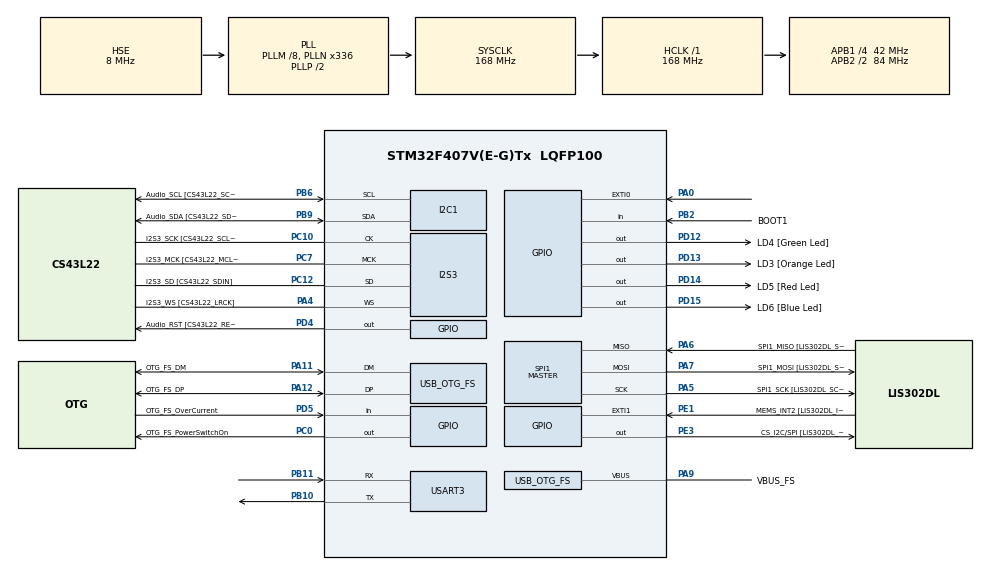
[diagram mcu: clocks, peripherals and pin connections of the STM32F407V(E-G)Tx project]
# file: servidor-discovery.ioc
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Dma.Request0=USART3_TX
Dma.USART3_TX.0.Direction=DMA_MEMORY_TO_PERIPH
Dma.USART3_TX.0.FIFOMode=DMA_FIFOMODE_DISABLE
Dma.USART3_TX.0.Instance=DMA1_Stream3
Dma.USART3_TX.0.MemDataAlignment=DMA_MDATAALIGN_BYTE
Dma.USART3_TX.0.MemInc=DMA_MINC_ENABLE
Dma.USART3_TX.0.Mode=DMA_NORMAL
Dma.USART3_TX.0.PeriphDataAlignment=DMA_PDATAALIGN_BYTE
Dma.USART3_TX.0.PeriphInc=DMA_PINC_DISABLE
Dma.USART3_TX.0.Priority=DMA_PRIORITY_LOW
I2S3.AudioFreq-Half_Duplex_Master=I2S_AUDIOFREQ_96K
I2S3.ErrorAudioFreq=-2.34 %
I2S3.ErrorAudioFreq-Half_Duplex_Master=0.8 %
I2S3.FullDuplexMode=I2S_FULLDUPLEXMODE_DISABLE
I2S3.Instance=SPI$Index
I2S3.RealAudioFreq=93.75 KHz
I2S3.RealAudioFreq-Half_Duplex_Master=96.774 KHz
I2S3.VirtualMode=I2S_MODE_MASTER
Mcu.Family=STM32F4
Mcu.Name=STM32F407V(E-G)Tx
Mcu.Package=LQFP100
NVIC.DMA1_Stream3_IRQn=true\:0\:0\:false\:false\:true\:false\:true\:true
NVIC.EXTI0_IRQn=true\:0\:0\:false\:false\:true\:true\:true\:true
NVIC.OTG_FS_IRQn=true\:0\:0\:false\:false\:true\:true\:true\:true
NVIC.PriorityGroup=NVIC_PRIORITYGROUP_0
NVIC.USART3_IRQn=true\:0\:0\:false\:false\:true\:true\:true\:true
PA0-WKUP.Signal=GPXTI0
PA10.GPIO_Label=OTG_FS_ID
PA10.GPIO_Mode=GPIO_MODE_AF_PP
PA10.GPIO_PuPd=GPIO_NOPULL
PA10.GPIO_Speed=GPIO_SPEED_FREQ_LOW
PA10.Signal=USB_OTG_FS_ID
PA11.GPIO_Label=OTG_FS_DM
PA11.GPIO_Mode=GPIO_MODE_AF_PP
PA11.GPIO_PuPd=GPIO_NOPULL
PA11.GPIO_Speed=GPIO_SPEED_FREQ_LOW
PA11.Mode=Host_Only
PA11.Signal=USB_OTG_FS_DM
PA12.GPIO_Label=OTG_FS_DP
PA12.GPIO_Mode=GPIO_MODE_AF_PP
PA12.GPIO_PuPd=GPIO_NOPULL
PA12.GPIO_Speed=GPIO_SPEED_FREQ_LOW
PA12.Mode=Host_Only
PA12.Signal=USB_OTG_FS_DP
PA13.GPIO_Label=SWDIO
PA13.Mode=Serial_Wire
PA13.Signal=SYS_JTMS-SWDIO
PA14.GPIO_Label=SWCLK
PA14.Mode=Serial_Wire
PA14.Signal=SYS_JTCK-SWCLK
PA4.GPIO_Label=I2S3_WS [CS43L22_LRCK]
PA4.GPIO_Mode=GPIO_MODE_AF_PP
PA4.GPIO_PuPd=GPIO_NOPULL
PA4.GPIO_Speed=GPIO_SPEED_FREQ_LOW
PA4.Mode=Half_Duplex_Master
PA4.Signal=I2S3_WS
PA5.GPIO_Label=SPI1_SCK [LIS302DL_SCL/SPC]
PA5.GPIO_Mode=GPIO_MODE_AF_PP
PA5.GPIO_PuPd=GPIO_NOPULL
PA5.GPIO_Speed=GPIO_SPEED_FREQ_LOW
PA5.Mode=Full_Duplex_Master
PA5.Signal=SPI1_SCK
PA6.GPIO_Label=SPI1_MISO [LIS302DL_SDO]
PA6.GPIO_Mode=GPIO_MODE_AF_PP
PA6.GPIO_PuPd=GPIO_NOPULL
PA6.GPIO_Speed=GPIO_SPEED_FREQ_LOW
PA6.Mode=Full_Duplex_Master
PA6.Signal=SPI1_MISO
PA7.GPIO_Label=SPI1_MOSI [LIS302DL_SDA/SDI/SDO]
PA7.GPIO_Mode=GPIO_MODE_AF_PP
PA7.GPIO_PuPd=GPIO_NOPULL
PA7.GPIO_Speed=GPIO_SPEED_FREQ_LOW
PA7.Mode=Full_Duplex_Master
PA7.Signal=SPI1_MOSI
PA9.GPIO_Label=VBUS_FS
PA9.GPIO_Mode=GPIO_MODE_INPUT
PA9.GPIO_PuPd=GPIO_NOPULL
PA9.Mode=Activate_VBUS
PA9.Signal=USB_OTG_FS_VBUS
PB10.Mode=Asynchronous
PB10.Signal=USART3_TX
PB11.Mode=Asynchronous
PB11.Signal=USART3_RX
PB2.GPIO_Label=BOOT1
PB2.GPIO_Mode=GPIO_MODE_INPUT
PB2.GPIO_PuPd=GPIO_NOPULL
PB2.Signal=GPIO_Input
PB3.GPIO_Label=SWO
PB3.Signal=SYS_JTDO-SWO
PB6.GPIO_Label=Audio_SCL [CS43L22_SCL]
PB6.GPIO_Mode=GPIO_MODE_AF_OD
PB6.GPIO_Pu=GPIO_PULLUP
PB6.GPIO_PuPd=GPIO_NOPULL
PB6.GPIO_Speed=GPIO_SPEED_FREQ_LOW
PB6.Mode=I2C
PB6.Signal=I2C1_SCL
PB9.GPIO_Label=Audio_SDA [CS43L22_SDA]
PB9.GPIO_Mode=GPIO_MODE_AF_OD
PB9.GPIO_Pu=GPIO_PULLUP
PB9.GPIO_PuPd=GPIO_NOPULL
PB9.GPIO_Speed=GPIO_SPEED_FREQ_LOW
PB9.Mode=I2C
PB9.Signal=I2C1_SDA
PC0.GPIO_Label=OTG_FS_PowerSwitchOn
PC0.GPIO_PuPd=GPIO_NOPULL
PC0.GPIO_Speed=GPIO_SPEED_FREQ_LOW
PC0.PinState=GPIO_PIN_SET
PC0.Signal=GPIO_Output
PC10.GPIO_Label=I2S3_SCK [CS43L22_SCLK]
PC10.GPIO_Mode=GPIO_MODE_AF_PP
PC10.GPIO_PuPd=GPIO_NOPULL
PC10.GPIO_Speed=GPIO_SPEED_FREQ_LOW
PC10.Mode=Half_Duplex_Master
PC10.Signal=I2S3_CK
PC12.GPIO_Label=I2S3_SD [CS43L22_SDIN]
PC12.GPIO_Mode=GPIO_MODE_AF_PP
PC12.GPIO_PuPd=GPIO_NOPULL
PC12.GPIO_Speed=GPIO_SPEED_FREQ_LOW
PC12.Mode=Half_Duplex_Master
PC12.Signal=I2S3_SD
PC14-OSC32_IN.GPIO_Label=PC14-OSC32_IN
PC14-OSC32_IN.Mode=LSE-External-Oscillator
PC14-OSC32_IN.Signal=RCC_OSC32_IN
PC15-OSC32_OUT.GPIO_Label=PC15-OSC32_OUT
PC15-OSC32_OUT.Mode=LSE-External-Oscillator
PC15-OSC32_OUT.Signal=RCC_OSC32_OUT
PC3.GPIO_Label=PDM_OUT [MP45DT02_DOUT]
PC3.GPIO_Mode=GPIO_MODE_AF_PP
PC3.GPIO_PuPd=GPIO_NOPULL
PC3.GPIO_Speed=GPIO_SPEED_FREQ_LOW
PC3.Signal=I2S2_SD
PC7.GPIO_Label=I2S3_MCK [CS43L22_MCLK]
PC7.GPIO_Mode=GPIO_MODE_AF_PP
PC7.GPIO_PuPd=GPIO_NOPULL
PC7.GPIO_Speed=GPIO_SPEED_FREQ_LOW
PC7.Mode=Master_Clock_Activated
PC7.Signal=I2S3_MCK
PD12.GPIO_Label=LD4 [Green Led]
PD12.GPIO_PuPd=GPIO_NOPULL
PD12.GPIO_Speed=GPIO_SPEED_FREQ_LOW
PD12.Signal=GPIO_Output
PD13.GPIO_Label=LD3 [Orange Led]
PD13.GPIO_PuPd=GPIO_NOPULL
PD13.GPIO_Speed=GPIO_SPEED_FREQ_LOW
PD13.Signal=GPIO_Output
PD14.GPIO_Label=LD5 [Red Led]
PD14.GPIO_PuPd=GPIO_NOPULL
PD14.GPIO_Speed=GPIO_SPEED_FREQ_LOW
PD14.Signal=GPIO_Output
PD15.GPIO_Label=LD6 [Blue Led]
PD15.GPIO_PuPd=GPIO_NOPULL
PD15.GPIO_Speed=GPIO_SPEED_FREQ_LOW
PD15.Signal=GPIO_Output
PD4.GPIO_Label=Audio_RST [CS43L22_RESET]
PD4.GPIO_PuPd=GPIO_NOPULL
PD4.GPIO_Speed=GPIO_SPEED_FREQ_LOW
PD4.Signal=GPIO_Output
PD5.GPIO_Label=OTG_FS_OverCurrent
PD5.GPIO_Mode=GPIO_MODE_INPUT
PD5.GPIO_PuPd=GPIO_NOPULL
PD5.Signal=GPIO_Input
PE1.GPIO_Label=MEMS_INT2 [LIS302DL_INT2]
PE1.GPIO_ModeDefaultEXTI=GPIO_MODE_EVT_RISING
PE1.GPIO_PuPd=GPIO_NOPULL
PE1.Signal=GPXTI1
PE3.GPIO_Label=CS_I2C/SPI [LIS302DL_CS_I2C/SPI]
PE3.GPIO_PuPd=GPIO_NOPULL
PE3.GPIO_Speed=GPIO_SPEED_FREQ_LOW
PE3.Signal=GPIO_Output
PH0-OSC_IN.GPIO_Label=PH0-OSC_IN
PH0-OSC_IN.Mode=HSE-External-Oscillator
PH0-OSC_IN.Signal=RCC_OSC_IN
PH1-OSC_OUT.GPIO_Label=PH1-OSC_OUT
PH1-OSC_OUT.Mode=HSE-External-Oscillator
PH1-OSC_OUT.Signal=RCC_OSC_OUT
ProjectManager.HeapSize=0x200
ProjectManager.StackSize=0x400
ProjectManager.TargetToolchain=STM32CubeIDE
RCC.48MHZClocksFreq_Value=48000000
RCC.AHBFreq_Value=168000000
RCC.APB1CLKDivider=RCC_HCLK_DIV4
RCC.APB1Freq_Value=42000000
RCC.APB1TimFreq_Value=84000000
RCC.APB2CLKDivider=RCC_HCLK_DIV2
RCC.APB2Freq_Value=84000000
RCC.APB2TimFreq_Value=168000000
RCC.CortexFreq_Value=168000000
RCC.HCLKFreq_Value=168000000
RCC.HSE_VALUE=8000000
RCC.HSI_VALUE=16000000
RCC.PLLM=8
RCC.PLLN=336
RCC.PLLQ=7
RCC.SYSCLKFreq_VALUE=168000000
RCC.SYSCLKSource=RCC_SYSCLKSOURCE_PLLCLK
RCC.VCOOutputFreq_Value=336000000
SPI1.BaudRatePrescaler-Full_Duplex_Master=SPI_BAUDRATEPRESCALER_2
SPI1.CalculateBaudRate-Full_Duplex_Master=42.0 MBits/s
SPI1.Direction=SPI_DIRECTION_2LINES
SPI1.Mode=SPI_MODE_MASTER
SPI1.Mode-Full_Duplex_Master=SPI_MODE_MASTER
SPI1.VirtualType=VM_MASTER
USART3.VirtualMode=VM_ASYNC
USB_HOST.BSP.number=1
USB_HOST.USBH_HandleTypeDef-CDC_FS=hUsbHostFS
USB_HOST.VirtualModeFS=Cdc
USB_HOST0.BSP.STBoard=false
USB_HOST0.BSP.api=Unknown
USB_HOST0.BSP.instance=PC0
USB_HOST0.BSP.ip=GPIO
USB_HOST0.BSP.mode=Output
USB_HOST0.BSP.name=Drive_VBUS_FS
USB_HOST0.BSP.solution=PC0
USB_OTG_FS.VirtualMode=Host_Only
USB_OTG_FS.phy_itface=HCD_PHY_EMBEDDED
VP_USB_HOST_VS_USB_HOST_CDC_FS.Mode=CDC_FS
board=STM32F407G-DISC1

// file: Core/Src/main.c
//Placa Discovery Firmware

/* USER CODE BEGIN Header */
/**
  ******************************************************************************
  * @file           : main.c
  * @brief          : Main program body
  ******************************************************************************
  * @attention
  *
  * Copyright (c) 2026 STMicroelectronics.
  * All rights reserved.
  *
  * This software is licensed under terms that can be found in the LICENSE file
  * in the root directory of this software component.
  * If no LICENSE file comes with this software, it is provided AS-IS.
  *
  ******************************************************************************
  */
/* USER CODE END Header */
#include "main.h"
#include "usb_host.h"
#include <string.h>

I2C_HandleTypeDef hi2c1;

I2S_HandleTypeDef hi2s3;

SPI_HandleTypeDef hspi1;

UART_HandleTypeDef huart3;
DMA_HandleTypeDef hdma_usart3_tx;

/* USER CODE BEGIN PV */
/* USER CODE BEGIN PV */

uint8_t rx;
uint8_t contador = 0;

char tabela[] = "Vinicius,123\nJoao,456\nMaria,789\n";

/* USER CODE END PV */

/* USER CODE END PV */

void SystemClock_Config(void);
static void MX_GPIO_Init(void);
static void MX_DMA_Init(void);
static void MX_I2C1_Init(void);
static void MX_I2S3_Init(void);
static void MX_SPI1_Init(void);
static void MX_USART3_UART_Init(void);
void MX_USB_HOST_Process(void);

int main(void)
{

  /* MCU Configuration--------------------------------------------------------*/

  /* Reset of all peripherals, Initializes the Flash interface and the Systick. */
  HAL_Init();

  /* Configure the system clock */
  SystemClock_Config();

  /* Initialize all configured peripherals */
  MX_GPIO_Init();
  MX_DMA_Init();
  MX_I2C1_Init();
  MX_I2S3_Init();
  MX_SPI1_Init();
  MX_USB_HOST_Init();
  MX_USART3_UART_Init();
  /* USER CODE BEGIN 2 */
  HAL_UART_Receive_IT(&huart3, &rx, 1);

  /* USER CODE END 2 */

  /* Infinite loop */
  while (1)
  {
    MX_USB_HOST_Process();

  }
}

void SystemClock_Config(void)
{
  RCC_OscInitTypeDef RCC_OscInitStruct = {0};
  RCC_ClkInitTypeDef RCC_ClkInitStruct = {0};

  /** Configure the main internal regulator output voltage
  */
  __HAL_RCC_PWR_CLK_ENABLE();
  __HAL_PWR_VOLTAGESCALING_CONFIG(PWR_REGULATOR_VOLTAGE_SCALE1);

  /** Initializes the RCC Oscillators according to the specified parameters
  * in the RCC_OscInitTypeDef structure.
  */
  RCC_OscInitStruct.OscillatorType = RCC_OSCILLATORTYPE_HSE;
  RCC_OscInitStruct.HSEState = RCC_HSE_ON;
  RCC_OscInitStruct.PLL.PLLState = RCC_PLL_ON;
  RCC_OscInitStruct.PLL.PLLSource = RCC_PLLSOURCE_HSE;
  RCC_OscInitStruct.PLL.PLLM = 8;
  RCC_OscInitStruct.PLL.PLLN = 336;
  RCC_OscInitStruct.PLL.PLLP = RCC_PLLP_DIV2;
  RCC_OscInitStruct.PLL.PLLQ = 7;
  if (HAL_RCC_OscConfig(&RCC_OscInitStruct) != HAL_OK)
  {
    Error_Handler();
  }

  /** Initializes the CPU, AHB and APB buses clocks
  */
  RCC_ClkInitStruct.ClockType = RCC_CLOCKTYPE_HCLK|RCC_CLOCKTYPE_SYSCLK
                              |RCC_CLOCKTYPE_PCLK1|RCC_CLOCKTYPE_PCLK2;
  RCC_ClkInitStruct.SYSCLKSource = RCC_SYSCLKSOURCE_PLLCLK;
  RCC_ClkInitStruct.AHBCLKDivider = RCC_SYSCLK_DIV1;
  RCC_ClkInitStruct.APB1CLKDivider = RCC_HCLK_DIV4;
  RCC_ClkInitStruct.APB2CLKDivider = RCC_HCLK_DIV2;

  if (HAL_RCC_ClockConfig(&RCC_ClkInitStruct, FLASH_LATENCY_5) != HAL_OK)
  {
    Error_Handler();
  }
}

static void MX_I2C1_Init(void)
{

  hi2c1.Instance = I2C1;
  hi2c1.Init.ClockSpeed = 100000;
  hi2c1.Init.DutyCycle = I2C_DUTYCYCLE_2;
  hi2c1.Init.OwnAddress1 = 0;
  hi2c1.Init.AddressingMode = I2C_ADDRESSINGMODE_7BIT;
  hi2c1.Init.DualAddressMode = I2C_DUALADDRESS_DISABLE;
  hi2c1.Init.OwnAddress2 = 0;
  hi2c1.Init.GeneralCallMode = I2C_GENERALCALL_DISABLE;
  hi2c1.Init.NoStretchMode = I2C_NOSTRETCH_DISABLE;
  if (HAL_I2C_Init(&hi2c1) != HAL_OK)
  {
    Error_Handler();
  }

}

static void MX_I2S3_Init(void)
{

  hi2s3.Instance = SPI3;
  hi2s3.Init.Mode = I2S_MODE_MASTER_TX;
  hi2s3.Init.Standard = I2S_STANDARD_PHILIPS;
  hi2s3.Init.DataFormat = I2S_DATAFORMAT_16B;
  hi2s3.Init.MCLKOutput = I2S_MCLKOUTPUT_ENABLE;
  hi2s3.Init.AudioFreq = I2S_AUDIOFREQ_96K;
  hi2s3.Init.CPOL = I2S_CPOL_LOW;
  hi2s3.Init.ClockSource = I2S_CLOCK_PLL;
  hi2s3.Init.FullDuplexMode = I2S_FULLDUPLEXMODE_DISABLE;
  if (HAL_I2S_Init(&hi2s3) != HAL_OK)
  {
    Error_Handler();
  }

}

static void MX_SPI1_Init(void)
{

  /* SPI1 parameter configuration*/
  hspi1.Instance = SPI1;
  hspi1.Init.Mode = SPI_MODE_MASTER;
  hspi1.Init.Direction = SPI_DIRECTION_2LINES;
  hspi1.Init.DataSize = SPI_DATASIZE_8BIT;
  hspi1.Init.CLKPolarity = SPI_POLARITY_LOW;
  hspi1.Init.CLKPhase = SPI_PHASE_1EDGE;
  hspi1.Init.NSS = SPI_NSS_SOFT;
  hspi1.Init.BaudRatePrescaler = SPI_BAUDRATEPRESCALER_2;
  hspi1.Init.FirstBit = SPI_FIRSTBIT_MSB;
  hspi1.Init.TIMode = SPI_TIMODE_DISABLE;
  hspi1.Init.CRCCalculation = SPI_CRCCALCULATION_DISABLE;
  hspi1.Init.CRCPolynomial = 10;
  if (HAL_SPI_Init(&hspi1) != HAL_OK)
  {
    Error_Handler();
  }

}

static void MX_USART3_UART_Init(void)
{

  huart3.Instance = USART3;
  huart3.Init.BaudRate = 115200;
  huart3.Init.WordLength = UART_WORDLENGTH_8B;
  huart3.Init.StopBits = UART_STOPBITS_1;
  huart3.Init.Parity = UART_PARITY_NONE;
  huart3.Init.Mode = UART_MODE_TX_RX;
  huart3.Init.HwFlowCtl = UART_HWCONTROL_NONE;
  huart3.Init.OverSampling = UART_OVERSAMPLING_16;
  if (HAL_UART_Init(&huart3) != HAL_OK)
  {
    Error_Handler();
  }

}

static void MX_DMA_Init(void)
{

  /* DMA controller clock enable */
  __HAL_RCC_DMA1_CLK_ENABLE();

  /* DMA interrupt init */
  /* DMA1_Stream3_IRQn interrupt configuration */
  HAL_NVIC_SetPriority(DMA1_Stream3_IRQn, 0, 0);
  HAL_NVIC_EnableIRQ(DMA1_Stream3_IRQn);

}

static void MX_GPIO_Init(void)
{
  GPIO_InitTypeDef GPIO_InitStruct = {0};

  /* GPIO Ports Clock Enable */
  __HAL_RCC_GPIOE_CLK_ENABLE();
  __HAL_RCC_GPIOC_CLK_ENABLE();
  __HAL_RCC_GPIOH_CLK_ENABLE();
  __HAL_RCC_GPIOA_CLK_ENABLE();
  __HAL_RCC_GPIOB_CLK_ENABLE();
  __HAL_RCC_GPIOD_CLK_ENABLE();

  /*Configure GPIO pin Output Level */
  HAL_GPIO_WritePin(CS_I2C_SPI_GPIO_Port, CS_I2C_SPI_Pin, GPIO_PIN_RESET);

  /*Configure GPIO pin Output Level */
  HAL_GPIO_WritePin(OTG_FS_PowerSwitchOn_GPIO_Port, OTG_FS_PowerSwitchOn_Pin, GPIO_PIN_SET);

  /*Configure GPIO pin Output Level */
  HAL_GPIO_WritePin(GPIOD, LD4_Pin|LD3_Pin|LD5_Pin|LD6_Pin
                          |Audio_RST_Pin, GPIO_PIN_RESET);

  /*Configure GPIO pin : CS_I2C_SPI_Pin */
  GPIO_InitStruct.Pin = CS_I2C_SPI_Pin;
  GPIO_InitStruct.Mode = GPIO_MODE_OUTPUT_PP;
  GPIO_InitStruct.Pull = GPIO_NOPULL;
  GPIO_InitStruct.Speed = GPIO_SPEED_FREQ_LOW;
  HAL_GPIO_Init(CS_I2C_SPI_GPIO_Port, &GPIO_InitStruct);

  /*Configure GPIO pin : OTG_FS_PowerSwitchOn_Pin */
  GPIO_InitStruct.Pin = OTG_FS_PowerSwitchOn_Pin;
  GPIO_InitStruct.Mode = GPIO_MODE_OUTPUT_PP;
  GPIO_InitStruct.Pull = GPIO_NOPULL;
  GPIO_InitStruct.Speed = GPIO_SPEED_FREQ_LOW;
  HAL_GPIO_Init(OTG_FS_PowerSwitchOn_GPIO_Port, &GPIO_InitStruct);

  /*Configure GPIO pin : PDM_OUT_Pin */
  GPIO_InitStruct.Pin = PDM_OUT_Pin;
  GPIO_InitStruct.Mode = GPIO_MODE_AF_PP;
  GPIO_InitStruct.Pull = GPIO_NOPULL;
  GPIO_InitStruct.Speed = GPIO_SPEED_FREQ_LOW;
  GPIO_InitStruct.Alternate = GPIO_AF5_SPI2;
  HAL_GPIO_Init(PDM_OUT_GPIO_Port, &GPIO_InitStruct);

  /*Configure GPIO pin : PA0 */
  GPIO_InitStruct.Pin = GPIO_PIN_0;
  GPIO_InitStruct.Mode = GPIO_MODE_IT_RISING;
  GPIO_InitStruct.Pull = GPIO_NOPULL;
  HAL_GPIO_Init(GPIOA, &GPIO_InitStruct);

  /*Configure GPIO pin : BOOT1_Pin */
  GPIO_InitStruct.Pin = BOOT1_Pin;
  GPIO_InitStruct.Mode = GPIO_MODE_INPUT;
  GPIO_InitStruct.Pull = GPIO_NOPULL;
  HAL_GPIO_Init(BOOT1_GPIO_Port, &GPIO_InitStruct);

  /*Configure GPIO pins : LD4_Pin LD3_Pin LD5_Pin LD6_Pin
                           Audio_RST_Pin */
  GPIO_InitStruct.Pin = LD4_Pin|LD3_Pin|LD5_Pin|LD6_Pin
                          |Audio_RST_Pin;
  GPIO_InitStruct.Mode = GPIO_MODE_OUTPUT_PP;
  GPIO_InitStruct.Pull = GPIO_NOPULL;
  GPIO_InitStruct.Speed = GPIO_SPEED_FREQ_LOW;
  HAL_GPIO_Init(GPIOD, &GPIO_InitStruct);

  /*Configure GPIO pin : OTG_FS_OverCurrent_Pin */
  GPIO_InitStruct.Pin = OTG_FS_OverCurrent_Pin;
  GPIO_InitStruct.Mode = GPIO_MODE_INPUT;
  GPIO_InitStruct.Pull = GPIO_NOPULL;
  HAL_GPIO_Init(OTG_FS_OverCurrent_GPIO_Port, &GPIO_InitStruct);

  /*Configure GPIO pin : MEMS_INT2_Pin */
  GPIO_InitStruct.Pin = MEMS_INT2_Pin;
  GPIO_InitStruct.Mode = GPIO_MODE_EVT_RISING;
  GPIO_InitStruct.Pull = GPIO_NOPULL;
  HAL_GPIO_Init(MEMS_INT2_GPIO_Port, &GPIO_InitStruct);

  /* EXTI interrupt init*/
  HAL_NVIC_SetPriority(EXTI0_IRQn, 0, 0);
  HAL_NVIC_EnableIRQ(EXTI0_IRQn);

}

/* USER CODE BEGIN 4 */
void HAL_GPIO_EXTI_Callback(uint16_t GPIO_Pin)
{
    if(GPIO_Pin == GPIO_PIN_0)
    {
        contador++;

        // só toggle, sem delay
        HAL_GPIO_TogglePin(GPIOD, GPIO_PIN_12);
    }
}

void HAL_UART_RxCpltCallback(UART_HandleTypeDef *huart)
{
    if(huart->Instance == USART3)
    {
        if(rx == 0x5A)
        {
            //HAL_UART_Transmit_IT(&huart3, &contador, 1);
            //HAL_UART_Transmit_DMA(&huart3, (uint8_t*)tabela, sizeof(tabela));
        	HAL_UART_Transmit(&huart3, &contador, 1, 100);
        	HAL_Delay(10); // pequeno delay

        	//HAL_UART_Transmit(&huart3, (uint8_t*)tabela, sizeof(tabela), 100);
        	uint16_t tamanho = strlen(tabela);
        	HAL_UART_Transmit(&huart3, (uint8_t*)&tamanho, 2, 100);
        	HAL_UART_Transmit(&huart3, (uint8_t*)tabela, tamanho, 100);

            contador = 0;
        }

        HAL_UART_Receive_IT(&huart3, &rx, 1);
    }
}

/* USER CODE END 4 */

void Error_Handler(void)
{
  __disable_irq();
  while (1)
  {
  }
}
